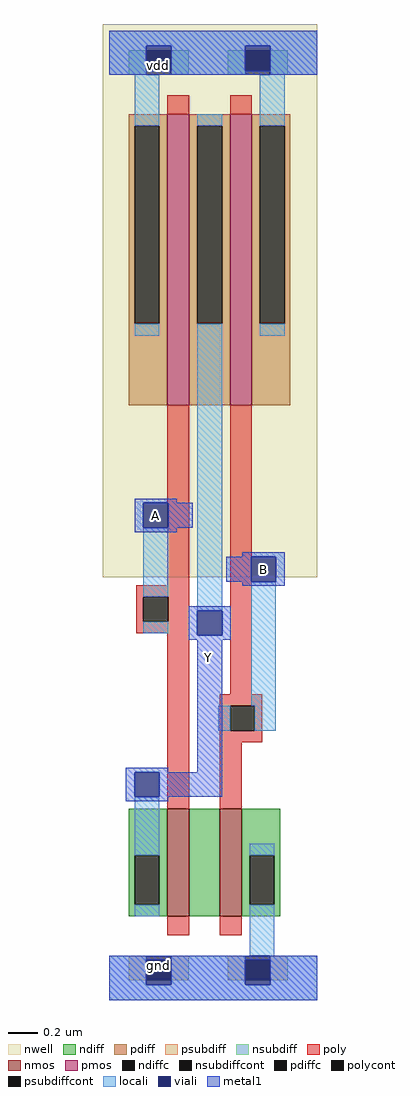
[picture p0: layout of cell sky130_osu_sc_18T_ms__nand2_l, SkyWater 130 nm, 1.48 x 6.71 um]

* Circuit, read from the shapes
.subckt sky130_osu_sc_18T_ms__nand2_l Y B A
XM1 n1 A Y gnd sky130_fd_pr__nfet_01v8 w=0.74 l=0.15
XM2 gnd B n1 gnd sky130_fd_pr__nfet_01v8 w=0.74 l=0.15
XM3 Y A vdd vdd sky130_fd_pr__pfet_01v8 w=2 l=0.15
XM4 vdd B Y vdd sky130_fd_pr__pfet_01v8 w=2 l=0.15
.ends

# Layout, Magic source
magic
tech sky130A
magscale 1 2
<< nwell >>
rect -9 581 286 1341
<< nmos >>
rect 80 115 110 263
rect 152 115 182 263
<< pmos >>
rect 80 817 110 1217
rect 166 817 196 1217
<< ndiff >>
rect 27 199 80 263
rect 27 131 35 199
rect 69 131 80 199
rect 27 115 80 131
rect 110 115 152 263
rect 182 199 235 263
rect 182 131 193 199
rect 227 131 235 199
rect 182 115 235 131
<< pdiff >>
rect 27 1201 80 1217
rect 27 929 35 1201
rect 69 929 80 1201
rect 27 817 80 929
rect 110 1201 166 1217
rect 110 929 121 1201
rect 155 929 166 1201
rect 110 817 166 929
rect 196 1201 249 1217
rect 196 929 207 1201
rect 241 929 249 1201
rect 196 817 249 929
<< ndiffc >>
rect 35 131 69 199
rect 193 131 227 199
<< pdiffc >>
rect 35 929 69 1201
rect 121 929 155 1201
rect 207 929 241 1201
<< psubdiff >>
rect 27 27 51 61
rect 85 27 109 61
rect 163 27 187 61
rect 221 27 245 61
<< nsubdiff >>
rect 27 1271 51 1305
rect 85 1271 109 1305
rect 163 1271 187 1305
rect 221 1271 245 1305
<< psubdiffcont >>
rect 51 27 85 61
rect 187 27 221 61
<< nsubdiffcont >>
rect 51 1271 85 1305
rect 187 1271 221 1305
<< poly >>
rect 80 1217 110 1243
rect 166 1217 196 1243
rect 80 570 110 817
rect 37 554 110 570
rect 37 520 47 554
rect 81 520 110 554
rect 37 504 110 520
rect 80 263 110 504
rect 166 420 196 817
rect 152 404 210 420
rect 152 370 166 404
rect 200 370 210 404
rect 152 354 210 370
rect 152 263 182 354
rect 80 89 110 115
rect 152 89 182 115
<< polycont >>
rect 47 520 81 554
rect 166 370 200 404
<< locali >>
rect 0 1311 286 1332
rect 0 1271 51 1311
rect 85 1271 187 1311
rect 221 1271 286 1311
rect 35 1201 69 1271
rect 35 913 69 929
rect 121 1201 155 1217
rect 47 554 81 649
rect 47 504 81 520
rect 121 535 155 929
rect 207 1201 241 1271
rect 207 913 241 929
rect 195 404 229 575
rect 150 370 166 404
rect 200 370 229 404
rect 35 199 69 279
rect 35 115 69 131
rect 193 199 227 215
rect 193 61 227 131
rect 0 21 51 61
rect 85 21 187 61
rect 221 21 286 61
rect 0 0 286 21
<< viali >>
rect 51 1305 85 1311
rect 51 1277 85 1305
rect 187 1305 221 1311
rect 187 1277 221 1305
rect 47 649 81 683
rect 121 501 155 535
rect 195 575 229 609
rect 35 279 69 313
rect 51 27 85 55
rect 51 21 85 27
rect 187 27 221 55
rect 187 21 221 27
<< metal1 >>
rect 0 1311 286 1332
rect 0 1277 51 1311
rect 85 1277 187 1311
rect 221 1277 286 1311
rect 0 1271 286 1277
rect 35 683 93 689
rect 35 649 47 683
rect 81 649 115 683
rect 35 643 93 649
rect 183 609 241 615
rect 161 575 195 609
rect 229 575 241 609
rect 183 569 241 575
rect 109 535 167 541
rect 109 501 121 535
rect 155 501 167 535
rect 109 495 167 501
rect 23 313 81 319
rect 121 313 155 495
rect 23 279 35 313
rect 69 279 155 313
rect 23 273 81 279
rect 0 55 286 61
rect 0 21 51 55
rect 85 21 187 55
rect 221 21 286 55
rect 0 0 286 21
<< labels >>
rlabel metal1 136 470 136 470 1 Y
port 1 n
rlabel metal1 212 592 212 592 1 B
port 2 n
rlabel metal1 64 666 64 666 1 A
port 3 n
rlabel viali 68 48 68 48 1 gnd
rlabel viali 68 1284 68 1284 1 vdd
<< end >>
